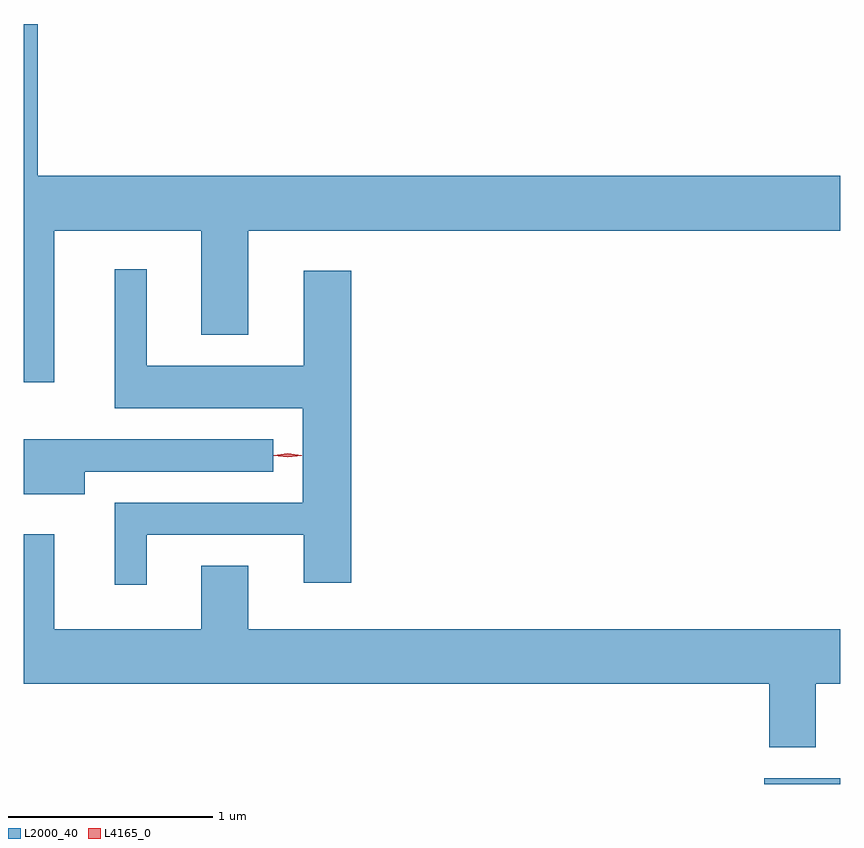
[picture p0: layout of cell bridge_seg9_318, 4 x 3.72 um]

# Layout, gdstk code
import gdstk
lib = gdstk.Library(unit=1e-6, precision=1e-09)
def R(c, l, rs):  # rectangles x0, y0, x1, y1
    for r in rs: c.add(gdstk.rectangle(r[:2], r[2:], *l))
def P(c, l, *ps):  # polygons
    for p in ps: c.add(gdstk.Polygon(p, *l))
L2000_40 = (2000, 40)
L4165_0 = (4165, 0)

bridge_seg9_318 = lib.new_cell('bridge_seg9_318')
R(bridge_seg9_318, L2000_40, [(727.746,2022.406,728.119,2022.434)])
P(bridge_seg9_318, L2000_40, [(724.269,2025.116),(724.991,2025.116),(724.991,2024.606),(725.219,2024.606),(725.219,2025.116),(728.12,2025.116),(728.12,2025.384),(724.189,2025.384),(724.189,2026.128),(724.12,2026.128),(724.12,2024.373),(724.269,2024.373)],
  [(724.724,2023.626),(725.491,2023.626),(725.491,2023.391),(725.724,2023.391),(725.724,2024.919),(725.491,2024.919),(725.491,2024.454),(724.724,2024.454),(724.724,2024.928),(724.566,2024.928),(724.566,2024.246),(725.486,2024.246),(725.486,2023.784),(724.566,2023.784),(724.566,2023.383),(724.724,2023.383)],
  [(724.419,2023.936),(725.343,2023.936),(725.343,2024.094),(724.12,2024.094),(724.12,2023.826),(724.419,2023.826)],
  [(727.999,2022.896),(728.12,2022.896),(728.12,2023.164),(725.219,2023.164),(725.219,2023.474),(724.991,2023.474),(724.991,2023.164),(724.269,2023.164),(724.269,2023.628),(724.12,2023.628),(724.12,2022.896),(727.771,2022.896),(727.771,2022.586),(727.999,2022.586)])
P(bridge_seg9_318, L4165_0, [(725.413,2024.005),(725.344,2024.014),(725.344,2024.015),(725.344,2024.015),(725.413,2024.025),(725.482,2024.015),(725.482,2024.015),(725.482,2024.014)],
  [(725.413,2024.005),(725.347,2024.014),(725.347,2024.015),(725.347,2024.015),(725.413,2024.025),(725.479,2024.015),(725.48,2024.015),(725.479,2024.014)])

lib.write_gds('bridge_seg9_318.gds')
